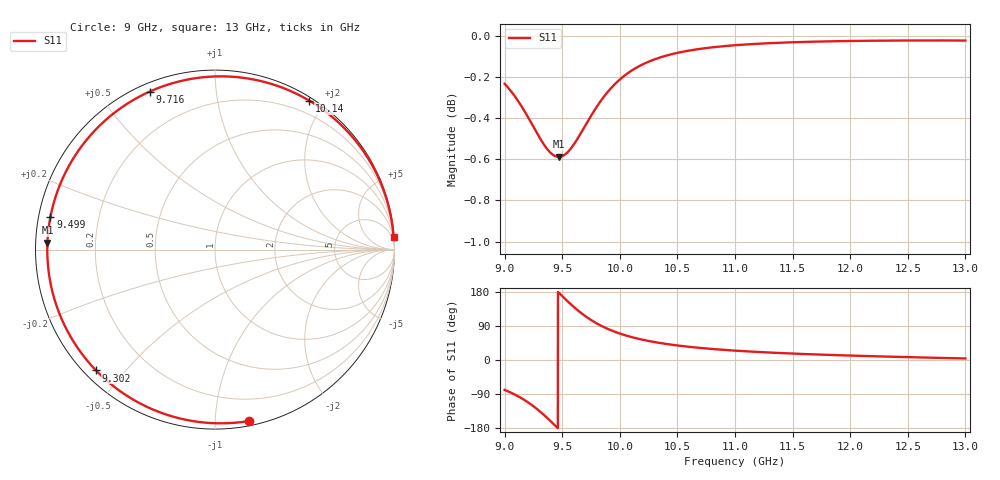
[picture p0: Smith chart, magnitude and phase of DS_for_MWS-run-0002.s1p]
! TOUCHSTONE file generated by CST DESIGN STUDIO
! Date and time: Tue Feb  4 13:08:06 2025
! Project name: C:\Work\MatlabApps\UnitCellOptimizationMatlab\CST\unitcell.cst
! Tree item: Tasks\Sweep1\SPara1\S-Parameters
! Header version: 2024
! Port assignment regex: !\s*Touchstone port\s*([0-9]+)\s*=\s*(CST MWS port|CST DES external port|CST DES block port)\s*(.+)\s* \(\"(.*)\"\)(\s*mode\s*([0-9]+))?.*
! Touchstone port assignment:
! Touchstone port 1 = CST DES external port 1 ("")
# GHz S MA R 50
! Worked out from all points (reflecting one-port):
!   4001 points, 9 GHz to 13 GHz, reference 50 ohm
!   lowest |S11| = -0.6 dB at 9.47 GHz (marker M1), VSWR 29.54, Z = 1.69 + j1.05 ohm
!   phase of S11 starts at -79 deg and turns -277 deg over the sweep
!   S11 on the Smith chart (normalised r, x): 9 GHz: 0.03, -1.21; 9.302 GHz: 0.03, -0.42; 9.499 GHz: 0.03, +0.10; 9.716 GHz: 0.04, +0.67; 10.14 GHz: 0.04, +1.82; 13 GHz: 1, +28
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9  0.9735 -78.9
9.074  0.968 -88.9
9.171  0.9589 -105.3
9.239  0.9516 -119.4
9.302  0.9448 -134.5
9.346  0.9405 -146.2
9.393  0.937 -159.5
9.432  0.9351 -171.0
9.47  0.9345 177.6
9.499  0.9349 168.9
9.5  0.9349 168.6
9.552  0.9372 153.4
9.611  0.9419 137.3
9.663  0.9471 124.3
9.716  0.9527 112.5
9.772  0.9584 101.5
9.835  0.9642 90.8
9.916  0.9706 79.4
10  0.9758 69.8
10.139  0.9821 57.6
10.302  0.9869 47.3
10.5  0.9905 38.3
10.722  0.9929 31.2
11  0.9947 24.7
11.5  0.9964 17.0
12  0.9971 11.7
12.5  0.9974 7.6
13  0.9973 4.0
